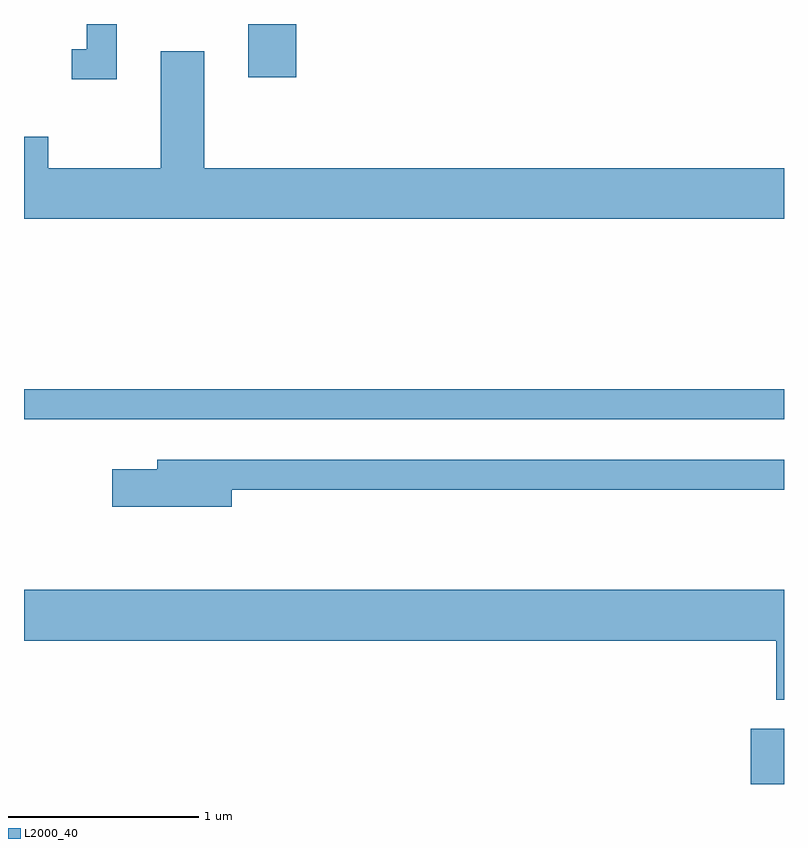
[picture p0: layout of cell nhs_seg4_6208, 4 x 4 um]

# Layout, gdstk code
import gdstk
lib = gdstk.Library(unit=1e-6, precision=1e-09)
def R(c, l, rs):  # rectangles x0, y0, x1, y1
    for r in rs: c.add(gdstk.rectangle(r[:2], r[2:], *l))
def P(c, l, *ps):  # polygons
    for p in ps: c.add(gdstk.Polygon(p, *l))
L2000_40 = (2000, 40)

nhs_seg4_6208 = lib.new_cell('nhs_seg4_6208')
R(nhs_seg4_6208, L2000_40, [(371.436,1293.982,371.611,1294.274), (367.611,1295.901,371.611,1296.059), (368.791,1297.701,369.044,1297.982)])
P(nhs_seg4_6208, L2000_40, [(368.099,1297.982),(367.941,1297.982),(367.941,1297.849),(367.863,1297.849),(367.863,1297.691),(368.099,1297.691)],
  [(371.611,1297.224),(368.559,1297.224),(368.559,1297.839),(368.331,1297.839),(368.331,1297.224),(367.739,1297.224),(367.739,1297.389),(367.611,1297.389),(367.611,1296.956),(371.611,1296.956)],
  [(368.704,1295.531),(371.611,1295.531),(371.611,1295.689),(368.311,1295.689),(368.311,1295.639),(368.076,1295.639),(368.076,1295.441),(368.704,1295.441)],
  [(371.611,1295.004),(367.611,1295.004),(367.611,1294.736),(371.571,1294.736),(371.571,1294.426),(371.611,1294.426)])

lib.write_gds('nhs_seg4_6208.gds')
